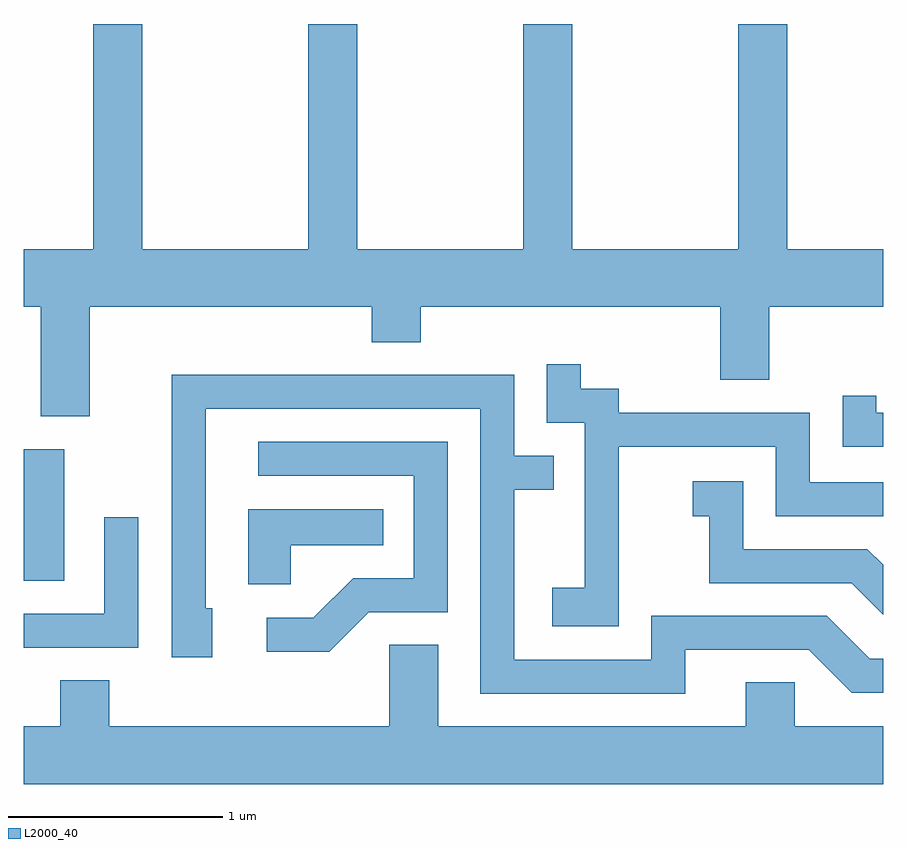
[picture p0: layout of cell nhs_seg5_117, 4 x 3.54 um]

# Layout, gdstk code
import gdstk
lib = gdstk.Library(unit=1e-6, precision=1e-09)
def R(c, l, rs):  # rectangles x0, y0, x1, y1
    for r in rs: c.add(gdstk.rectangle(r[:2], r[2:], *l))
def P(c, l, *ps):  # polygons
    for p in ps: c.add(gdstk.Polygon(p, *l))
L2000_40 = (2000, 40)

nhs_seg5_117 = lib.new_cell('nhs_seg5_117')
R(nhs_seg5_117, L2000_40, [(187.611,1495.481,187.799,1496.094)])
P(nhs_seg5_117, L2000_40, [(187.919,1496.756),(189.231,1496.756),(189.231,1496.591),(189.459,1496.591),(189.459,1496.756),(190.851,1496.756),(190.851,1496.416),(191.079,1496.416),(191.079,1496.756),(191.611,1496.756),(191.611,1497.024),(191.164,1497.024),(191.164,1498.072),(190.936,1498.072),(190.936,1497.024),(190.164,1497.024),(190.164,1498.072),(189.936,1498.072),(189.936,1497.024),(189.164,1497.024),(189.164,1498.072),(188.936,1498.072),(188.936,1497.024),(188.164,1497.024),(188.164,1498.072),(187.936,1498.072),(187.936,1497.024),(187.611,1497.024),(187.611,1496.756),(187.691,1496.756),(187.691,1496.246),(187.919,1496.246)],
  [(190.379,1496.106),(191.111,1496.106),(191.111,1495.781),(191.611,1495.781),(191.611,1495.939),(191.269,1495.939),(191.269,1496.264),(190.379,1496.264),(190.379,1496.374),(190.204,1496.374),(190.204,1496.488),(190.046,1496.488),(190.046,1496.216),(190.221,1496.216),(190.221,1495.449),(190.071,1495.449),(190.071,1495.271),(190.379,1495.271)],
  [(190.689,1495.161),(191.264,1495.161),(191.464,1494.961),(191.611,1494.961),(191.611,1495.119),(191.547,1495.119),(191.347,1495.319),(190.531,1495.319),(190.531,1495.114),(189.894,1495.114),(189.894,1495.906),(190.078,1495.906),(190.078,1496.064),(189.894,1496.064),(189.894,1496.439),(188.301,1496.439),(188.301,1495.126),(188.489,1495.126),(188.489,1495.354),(188.459,1495.354),(188.459,1496.281),(189.736,1496.281),(189.736,1494.956),(190.689,1494.956)],
  [(191.611,1496.264),(191.579,1496.264),(191.579,1496.343),(191.421,1496.343),(191.421,1496.106),(191.611,1496.106)],
  [(189.217,1495.336),(189.584,1495.336),(189.584,1496.129),(188.703,1496.129),(188.703,1495.971),(189.426,1495.971),(189.426,1495.494),(189.144,1495.494),(188.959,1495.309),(188.743,1495.309),(188.743,1495.151),(189.032,1495.151)],
  [(191.611,1495.555),(191.537,1495.629),(190.959,1495.629),(190.959,1495.944),(190.723,1495.944),(190.723,1495.781),(190.801,1495.781),(190.801,1495.471),(191.464,1495.471),(191.611,1495.324)],
  [(188.854,1495.646),(189.283,1495.646),(189.283,1495.814),(188.656,1495.814),(188.656,1495.466),(188.854,1495.466)],
  [(188.144,1495.778),(187.986,1495.778),(187.986,1495.329),(187.611,1495.329),(187.611,1495.171),(188.144,1495.171)],
  [(191.611,1494.804),(191.199,1494.804),(191.199,1495.009),(190.971,1495.009),(190.971,1494.804),(189.539,1494.804),(189.539,1495.184),(189.311,1495.184),(189.311,1494.804),(188.009,1494.804),(188.009,1495.019),(187.781,1495.019),(187.781,1494.804),(187.611,1494.804),(187.611,1494.536),(191.611,1494.536)])

lib.write_gds('nhs_seg5_117.gds')
